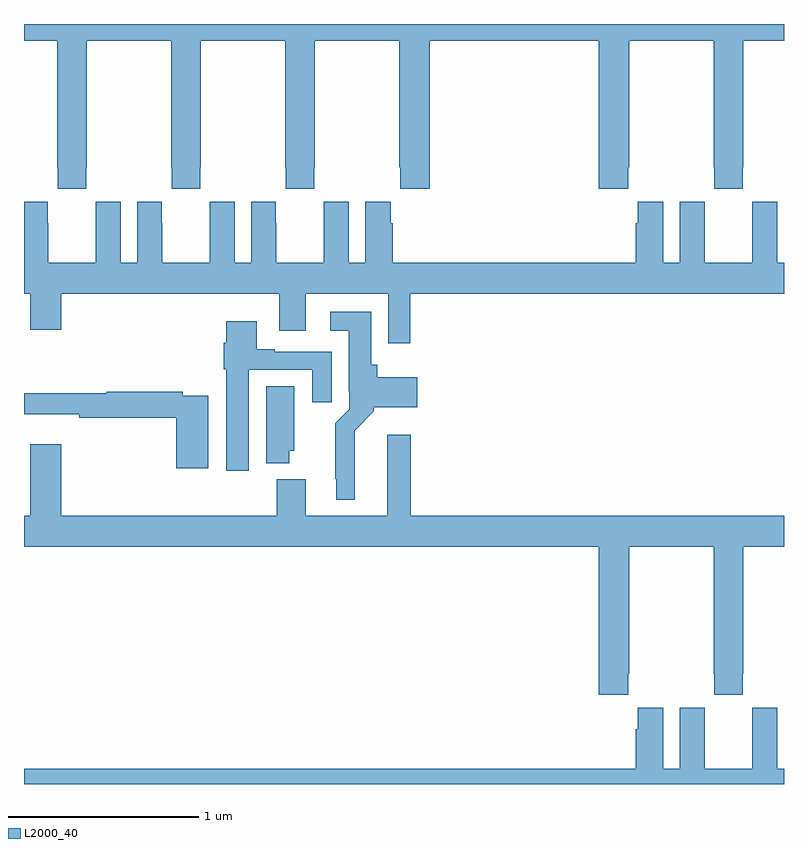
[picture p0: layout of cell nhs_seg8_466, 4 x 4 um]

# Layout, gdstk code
import gdstk
lib = gdstk.Library(unit=1e-6, precision=1e-09)
def P(c, l, *ps):  # polygons
    for p in ps: c.add(gdstk.Polygon(p, *l))
L2000_40 = (2000, 40)

nhs_seg8_466 = lib.new_cell('nhs_seg8_466')
P(nhs_seg8_466, L2000_40, [(144.026,1137.033),(144.179,1137.033),(144.179,1137.145),(144.186,1137.145),(144.186,1137.812),(144.631,1137.812),(144.631,1137.145),(144.633,1137.145),(144.633,1137.033),(144.783,1137.033),(144.783,1137.145),(144.786,1137.145),(144.786,1137.812),(145,1137.812),(145,1137.9),(141,1137.9),(141,1137.812),(141.175,1137.812),(141.175,1137.145),(141.177,1137.145),(141.177,1137.033),(141.327,1137.033),(141.327,1137.145),(141.33,1137.145),(141.33,1137.812),(141.775,1137.812),(141.775,1137.145),(141.777,1137.145),(141.777,1137.033),(141.927,1137.033),(141.927,1137.145),(141.93,1137.145),(141.93,1137.812),(142.375,1137.812),(142.375,1137.145),(142.377,1137.145),(142.377,1137.033),(142.527,1137.033),(142.527,1137.145),(142.53,1137.145),(142.53,1137.812),(142.975,1137.812),(142.975,1137.145),(142.981,1137.145),(142.981,1137.033),(143.135,1137.033),(143.135,1137.812),(144.026,1137.812)],
  [(143.033,1136.48),(145,1136.48),(145,1136.644),(144.964,1136.644),(144.964,1136.965),(144.834,1136.965),(144.834,1136.852),(144.833,1136.852),(144.833,1136.644),(144.583,1136.644),(144.583,1136.852),(144.582,1136.852),(144.582,1136.965),(144.452,1136.965),(144.452,1136.644),(144.364,1136.644),(144.364,1136.965),(144.23,1136.965),(144.23,1136.852),(144.221,1136.852),(144.221,1136.644),(142.94,1136.644),(142.94,1136.852),(142.93,1136.852),(142.93,1136.965),(142.796,1136.965),(142.796,1136.644),(142.708,1136.644),(142.708,1136.965),(142.578,1136.965),(142.578,1136.852),(142.577,1136.852),(142.577,1136.644),(142.327,1136.644),(142.327,1136.852),(142.326,1136.852),(142.326,1136.965),(142.196,1136.965),(142.196,1136.644),(142.108,1136.644),(142.108,1136.965),(141.978,1136.965),(141.978,1136.852),(141.977,1136.852),(141.977,1136.644),(141.727,1136.644),(141.727,1136.852),(141.726,1136.852),(141.726,1136.965),(141.596,1136.965),(141.596,1136.644),(141.508,1136.644),(141.508,1136.965),(141.378,1136.965),(141.378,1136.852),(141.377,1136.852),(141.377,1136.644),(141.127,1136.644),(141.127,1136.852),(141.126,1136.852),(141.126,1136.965),(141,1136.965),(141,1136.48),(141.032,1136.48),(141.032,1136.292),(141.196,1136.292),(141.196,1136.48),(142.343,1136.48),(142.343,1136.286),(142.483,1136.286),(142.483,1136.48),(142.917,1136.48),(142.917,1136.22),(143.033,1136.22)],
  [(142.741,1135.76),(142.842,1135.862),(142.842,1135.883),(143.071,1135.883),(143.071,1136.041),(142.859,1136.041),(142.859,1136.106),(142.828,1136.106),(142.828,1136.386),(142.611,1136.386),(142.611,1136.285),(142.709,1136.285),(142.709,1135.966),(142.713,1135.966),(142.713,1135.872),(142.639,1135.798),(142.639,1135.507),(142.643,1135.507),(142.643,1135.397),(142.741,1135.397)],
  [(142.183,1136.079),(142.517,1136.079),(142.517,1135.908),(142.621,1135.908),(142.621,1136.175),(142.321,1136.175),(142.321,1136.188),(142.225,1136.188),(142.225,1136.335),(142.064,1136.335),(142.064,1136.222),(142.052,1136.222),(142.052,1136.082),(142.064,1136.082),(142.064,1135.548),(142.183,1135.548)],
  [(142.396,1135.653),(142.423,1135.653),(142.423,1135.994),(142.274,1135.994),(142.274,1135.589),(142.396,1135.589)],
  [(141.97,1135.944),(141.836,1135.944),(141.836,1135.964),(141.436,1135.964),(141.436,1135.957),(141,1135.957),(141,1135.847),(141.292,1135.847),(141.292,1135.828),(141.8,1135.828),(141.8,1135.563),(141.97,1135.563)],
  [(144.179,1134.481),(144.186,1134.481),(144.186,1135.148),(144.631,1135.148),(144.631,1134.481),(144.633,1134.481),(144.633,1134.369),(144.783,1134.369),(144.783,1134.481),(144.786,1134.481),(144.786,1135.148),(145,1135.148),(145,1135.312),(143.036,1135.312),(143.036,1135.738),(142.913,1135.738),(142.913,1135.312),(142.483,1135.312),(142.483,1135.504),(142.331,1135.504),(142.331,1135.312),(141.196,1135.312),(141.196,1135.687),(141.032,1135.687),(141.032,1135.312),(141,1135.312),(141,1135.148),(144.026,1135.148),(144.026,1134.369),(144.179,1134.369)],
  [(145,1133.98),(144.964,1133.98),(144.964,1134.301),(144.834,1134.301),(144.834,1134.188),(144.833,1134.188),(144.833,1133.98),(144.583,1133.98),(144.583,1134.188),(144.582,1134.188),(144.582,1134.301),(144.452,1134.301),(144.452,1133.98),(144.364,1133.98),(144.364,1134.301),(144.23,1134.301),(144.23,1134.188),(144.221,1134.188),(144.221,1133.98),(141,1133.98),(141,1133.9),(145,1133.9)])

lib.write_gds('nhs_seg8_466.gds')
